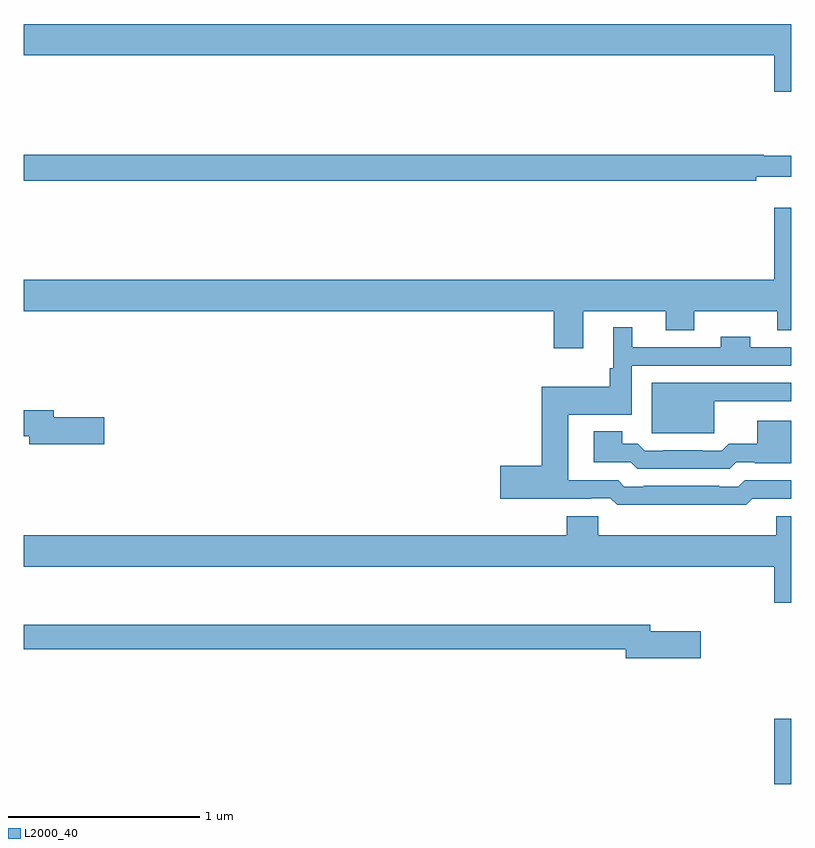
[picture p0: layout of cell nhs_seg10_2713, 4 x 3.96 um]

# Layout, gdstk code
import gdstk
lib = gdstk.Library(unit=1e-6, precision=1e-09)
def R(c, l, rs):  # rectangles x0, y0, x1, y1
    for r in rs: c.add(gdstk.rectangle(r[:2], r[2:], *l))
def P(c, l, *ps):  # polygons
    for p in ps: c.add(gdstk.Polygon(p, *l))
L2000_40 = (2000, 40)

nhs_seg10_2713 = lib.new_cell('nhs_seg10_2713')
R(nhs_seg10_2713, L2000_40, [(260.912,1316.5,261,1316.839)])
P(nhs_seg10_2713, L2000_40, [(261,1320.46),(257,1320.46),(257,1320.296),(260.912,1320.296),(260.912,1320.108),(261,1320.108)],
  [(260.816,1319.663),(261,1319.663),(261,1319.773),(260.855,1319.773),(260.855,1319.78),(257,1319.78),(257,1319.644),(260.816,1319.644)],
  [(259.915,1318.964),(260.345,1318.964),(260.345,1318.865),(260.493,1318.865),(260.493,1318.964),(260.926,1318.964),(260.926,1318.865),(261,1318.865),(261,1319.503),(260.912,1319.503),(260.912,1319.128),(257,1319.128),(257,1318.964),(259.763,1318.964),(259.763,1318.77),(259.915,1318.77)],
  [(260.288,1317.956),(260.566,1317.956),(260.566,1317.954),(260.765,1317.954),(260.797,1317.986),(261,1317.986),(261,1318.083),(260.757,1318.083),(260.724,1318.05),(260.624,1318.05),(260.624,1318.053),(260.23,1318.053),(260.23,1318.05),(260.13,1318.05),(260.097,1318.083),(259.837,1318.083),(259.837,1318.424),(260.169,1318.424),(260.169,1318.68),(261,1318.68),(261,1318.776),(260.787,1318.776),(260.787,1318.831),(260.632,1318.831),(260.632,1318.776),(260.17,1318.776),(260.17,1318.879),(260.072,1318.879),(260.072,1318.666),(260.053,1318.666),(260.053,1318.57),(259.7,1318.57),(259.7,1318.157),(259.482,1318.157),(259.482,1317.986),(259.958,1317.986),(259.958,1317.99),(260.057,1317.99),(260.093,1317.954),(260.288,1317.954)],
  [(260.599,1318.494),(261,1318.494),(261,1318.59),(260.495,1318.59),(260.495,1318.591),(260.273,1318.591),(260.273,1318.328),(260.599,1318.328)],
  [(257.419,1318.412),(257.158,1318.412),(257.158,1318.448),(257,1318.448),(257,1318.312),(257.03,1318.312),(257.03,1318.27),(257.419,1318.27)],
  [(260.713,1318.176),(260.809,1318.176),(260.809,1318.172),(261,1318.172),(261,1318.393),(260.822,1318.393),(260.822,1318.274),(260.675,1318.274),(260.637,1318.236),(260.537,1318.236),(260.537,1318.239),(260.335,1318.239),(260.335,1318.236),(260.235,1318.236),(260.199,1318.273),(260.119,1318.273),(260.119,1318.339),(259.971,1318.339),(259.971,1318.176),(260.163,1318.176),(260.196,1318.143),(260.68,1318.143)],
  [(261,1317.895),(260.921,1317.895),(260.921,1317.796),(259.994,1317.796),(259.994,1317.895),(259.829,1317.895),(259.829,1317.796),(257,1317.796),(257,1317.632),(260.912,1317.632),(260.912,1317.444),(261,1317.444)],
  [(260.527,1317.297),(260.266,1317.297),(260.266,1317.331),(257,1317.331),(257,1317.202),(260.138,1317.202),(260.138,1317.155),(260.527,1317.155)])

lib.write_gds('nhs_seg10_2713.gds')
